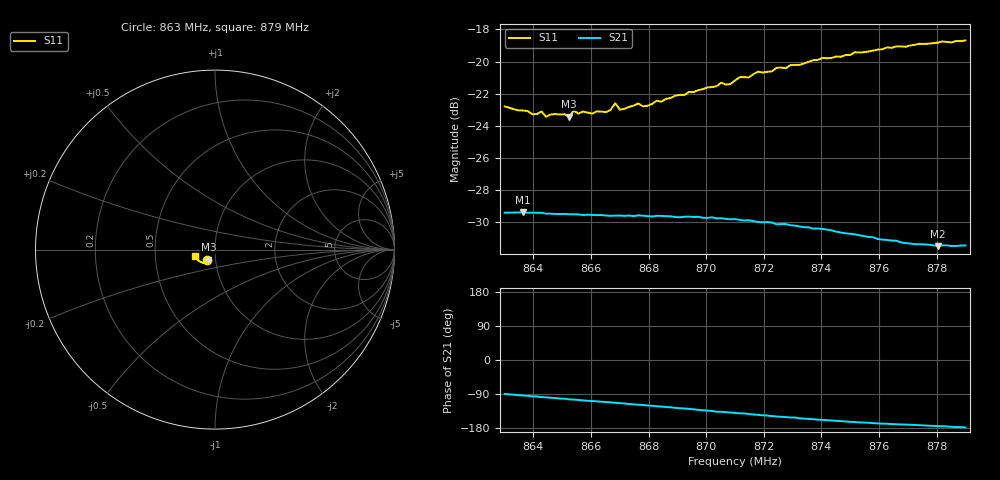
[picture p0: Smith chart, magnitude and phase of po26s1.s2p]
# HZ S RI R 50
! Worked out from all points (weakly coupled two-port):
!   101 points, 863 MHz to 879 MHz, reference 50 ohm
!   highest |S21| = -29.38 dB at 863.64 MHz (marker M1); lowest = -31.5 dB at 878.04 MHz (marker M2)
!   lowest |S11| = -23.4 dB at 865.24 MHz (marker M3), VSWR 1.14, Z = 46.2 - j5.22 ohm
!   |S11| at or under -10 dB: start of sweep to end of sweep
!   S12 and S22 are empty: the file has one direction only
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8.63e8  -0.0457 -0.0563  0.000362 -0.0338  0 0  0 0
8.6364e8  -0.043 -0.0558  -0.0021 -0.0339  0 0  0 0
8.6396e8  -0.0408 -0.0551  -0.00348 -0.0337  0 0  0 0
8.6428e8  -0.0401 -0.0573  -0.00462 -0.0335  0 0  0 0
8.6444e8  -0.0395 -0.0545  -0.00498 -0.0333  0 0  0 0
8.6476e8  -0.039 -0.0565  -0.00602 -0.033  0 0  0 0
8.6524e8  -0.0368 -0.0563  -0.00803 -0.0325  0 0  0 0
8.654e8  -0.0406 -0.0575  -0.00836 -0.0324  0 0  0 0
8.6572e8  -0.0381 -0.0586  -0.00953 -0.0319  0 0  0 0
8.6652e8  -0.0363 -0.0594  -0.0118 -0.031  0 0  0 0
8.6684e8  -0.0402 -0.0623  -0.0129 -0.0306  0 0  0 0
8.67e8  -0.0366 -0.0607  -0.0135 -0.0303  0 0  0 0
8.6764e8  -0.0377 -0.0638  -0.0156 -0.0293  0 0  0 0
8.678e8  -0.0367 -0.0626  -0.0159 -0.0291  0 0  0 0
8.6844e8  -0.0379 -0.0647  -0.018 -0.0278  0 0  0 0
8.71e8  -0.0495 -0.0719  -0.0246 -0.021  0 0  0 0
8.718e8  -0.0569 -0.0735  -0.0259 -0.0182  0 0  0 0
8.7228e8  -0.0577 -0.0732  -0.0267 -0.0167  0 0  0 0
8.7372e8  -0.0695 -0.0733  -0.0277 -0.0122  0 0  0 0
8.7644e8  -0.093 -0.0592  -0.0272 -0.00527  0 0  0 0
8.7804e8  -0.1044 -0.047  -0.0265 -0.00252  0 0  0 0
8.79e8  -0.1101 -0.0375  -0.0268 -0.000963  0 0  0 0
